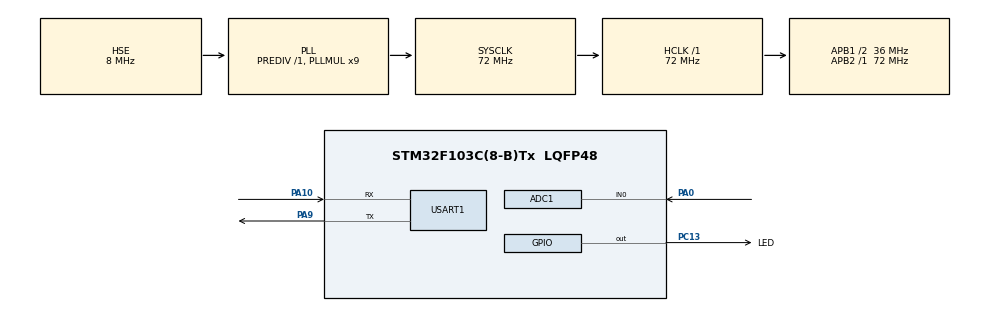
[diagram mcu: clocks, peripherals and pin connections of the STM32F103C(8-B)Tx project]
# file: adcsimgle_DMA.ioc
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ADC1.Channel-1\#ChannelRegularConversion=ADC_CHANNEL_0
ADC1.ContinuousConvMode=ENABLE
ADC1.EnableInjectedConversion=DISABLE
ADC1.InjNumberOfConversion=1
ADC1.NbrOfConversionFlag=1
ADC1.Rank-1\#ChannelRegularConversion=1
ADC1.SamplingTime-1\#ChannelRegularConversion=ADC_SAMPLETIME_239CYCLES_5
ADC1.master=1
Dma.ADC1.0.Direction=DMA_PERIPH_TO_MEMORY
Dma.ADC1.0.Instance=DMA1_Channel1
Dma.ADC1.0.MemDataAlignment=DMA_MDATAALIGN_HALFWORD
Dma.ADC1.0.MemInc=DMA_MINC_ENABLE
Dma.ADC1.0.Mode=DMA_CIRCULAR
Dma.ADC1.0.PeriphDataAlignment=DMA_PDATAALIGN_HALFWORD
Dma.ADC1.0.PeriphInc=DMA_PINC_DISABLE
Dma.ADC1.0.Priority=DMA_PRIORITY_LOW
Dma.Request0=ADC1
Mcu.Family=STM32F1
Mcu.Name=STM32F103C(8-B)Tx
Mcu.Package=LQFP48
NVIC.DMA1_Channel1_IRQn=true\:7\:0\:true\:false\:true\:false\:true\:true
NVIC.PriorityGroup=NVIC_PRIORITYGROUP_4
PA0-WKUP.Signal=ADCx_IN0
PA10.Mode=Asynchronous
PA10.Signal=USART1_RX
PA13.Mode=Serial_Wire
PA13.Signal=SYS_JTMS-SWDIO
PA14.Mode=Serial_Wire
PA14.Signal=SYS_JTCK-SWCLK
PA9.Mode=Asynchronous
PA9.Signal=USART1_TX
PC13-TAMPER-RTC.GPIO_Label=LED
PC13-TAMPER-RTC.Signal=GPIO_Output
PD0-OSC_IN.Mode=HSE-External-Oscillator
PD0-OSC_IN.Signal=RCC_OSC_IN
PD1-OSC_OUT.Mode=HSE-External-Oscillator
PD1-OSC_OUT.Signal=RCC_OSC_OUT
ProjectManager.HeapSize=0x200
ProjectManager.StackSize=0x400
ProjectManager.TargetToolchain=MDK-ARM V5.32
RCC.ADCPresc=RCC_ADCPCLK2_DIV6
RCC.AHBFreq_Value=72000000
RCC.APB1CLKDivider=RCC_HCLK_DIV2
RCC.APB1Freq_Value=36000000
RCC.APB1TimFreq_Value=72000000
RCC.APB2Freq_Value=72000000
RCC.APB2TimFreq_Value=72000000
RCC.HCLKFreq_Value=72000000
RCC.PLLMUL=RCC_PLL_MUL9
RCC.PLLSourceVirtual=RCC_PLLSOURCE_HSE
RCC.SYSCLKFreq_VALUE=72000000
RCC.SYSCLKSource=RCC_SYSCLKSOURCE_PLLCLK
RCC.USBFreq_Value=72000000
SH.ADCx_IN0.0=ADC1_IN0,IN0
USART1.VirtualMode=VM_ASYNC
board=custom

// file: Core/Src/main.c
/* USER CODE BEGIN Header */
/**
  ******************************************************************************
  * @file           : main.c
  * @brief          : Main program body
  ******************************************************************************
  * @attention
  *
  * Copyright (c) 2023 STMicroelectronics.
  * All rights reserved.
  *
  * This software is licensed under terms that can be found in the LICENSE file
  * in the root directory of this software component.
  * If no LICENSE file comes with this software, it is provided AS-IS.
  *
  ******************************************************************************
  */
/* USER CODE END Header */
#include "main.h"
#include "adc.h"
#include "dma.h"
#include "usart.h"
#include "gpio.h"

void SystemClock_Config(void);

/* USER CODE BEGIN 0 */
void dma_circular_and_adc_continuous(void);
void dma_notcircular_or_adc_notcontinuous(void);
/* USER CODE END 0 */

int main(void)
{

  /* MCU Configuration--------------------------------------------------------*/

  /* Reset of all peripherals, Initializes the Flash interface and the Systick. */
  HAL_Init();

  /* Configure the system clock */
  SystemClock_Config();

  /* Initialize all configured peripherals */
  MX_GPIO_Init();
  MX_DMA_Init();
  MX_ADC1_Init();
  MX_USART1_UART_Init();
  /* USER CODE BEGIN 2 */
	HAL_ADCEx_Calibration_Start(&hadc1);
	HAL_ADC_Start_DMA(&hadc1, (uint32_t*)adc_buffer, ADCBUFFERSIZE);

  /* USER CODE END 2 */

  /* Infinite loop */
  /* USER CODE BEGIN WHILE */
  while (1)
  {
		dma_circular_and_adc_continuous();
		HAL_GPIO_TogglePin(LED_GPIO_Port, LED_Pin);
		HAL_Delay(500);
    /* USER CODE END WHILE */

  }
}

void SystemClock_Config(void)
{
  RCC_OscInitTypeDef RCC_OscInitStruct = {0};
  RCC_ClkInitTypeDef RCC_ClkInitStruct = {0};
  RCC_PeriphCLKInitTypeDef PeriphClkInit = {0};

  /** Initializes the RCC Oscillators according to the specified parameters
  * in the RCC_OscInitTypeDef structure.
  */
  RCC_OscInitStruct.OscillatorType = RCC_OSCILLATORTYPE_HSE;
  RCC_OscInitStruct.HSEState = RCC_HSE_ON;
  RCC_OscInitStruct.HSEPredivValue = RCC_HSE_PREDIV_DIV1;
  RCC_OscInitStruct.HSIState = RCC_HSI_ON;
  RCC_OscInitStruct.PLL.PLLState = RCC_PLL_ON;
  RCC_OscInitStruct.PLL.PLLSource = RCC_PLLSOURCE_HSE;
  RCC_OscInitStruct.PLL.PLLMUL = RCC_PLL_MUL9;
  if (HAL_RCC_OscConfig(&RCC_OscInitStruct) != HAL_OK)
  {
    Error_Handler();
  }

  /** Initializes the CPU, AHB and APB buses clocks
  */
  RCC_ClkInitStruct.ClockType = RCC_CLOCKTYPE_HCLK|RCC_CLOCKTYPE_SYSCLK
                              |RCC_CLOCKTYPE_PCLK1|RCC_CLOCKTYPE_PCLK2;
  RCC_ClkInitStruct.SYSCLKSource = RCC_SYSCLKSOURCE_PLLCLK;
  RCC_ClkInitStruct.AHBCLKDivider = RCC_SYSCLK_DIV1;
  RCC_ClkInitStruct.APB1CLKDivider = RCC_HCLK_DIV2;
  RCC_ClkInitStruct.APB2CLKDivider = RCC_HCLK_DIV1;

  if (HAL_RCC_ClockConfig(&RCC_ClkInitStruct, FLASH_LATENCY_2) != HAL_OK)
  {
    Error_Handler();
  }
  PeriphClkInit.PeriphClockSelection = RCC_PERIPHCLK_ADC;
  PeriphClkInit.AdcClockSelection = RCC_ADCPCLK2_DIV6;
  if (HAL_RCCEx_PeriphCLKConfig(&PeriphClkInit) != HAL_OK)
  {
    Error_Handler();
  }
}

/* USER CODE BEGIN 4 */
void dma_circular_and_adc_continuous(void)
{
	uint16_t senddata = 0;
	for(int i = 0; i < ADCBUFFERSIZE; i++)
	{
		senddata += adc_buffer[i];
	}
	senddata = (senddata/ADCBUFFERSIZE);
	Send_16(&huart1, senddata);

//	HAL_Delay(10);
}

void dma_notcircular_or_adc_notcontinuous(void)
{
	uint16_t senddata = 0;
	for(int i = 0; i < ADCBUFFERSIZE; i++)
	{
		senddata += adc_buffer[i];
	}
	senddata = (senddata/ADCBUFFERSIZE);
	Send_16(&huart1, senddata);
	HAL_ADC_Start_DMA(&hadc1, (uint32_t*)adc_buffer, ADCBUFFERSIZE);

	HAL_Delay(10);
}

/* USER CODE END 4 */

void Error_Handler(void)
{
  __disable_irq();
  while (1)
  {
  }
}
